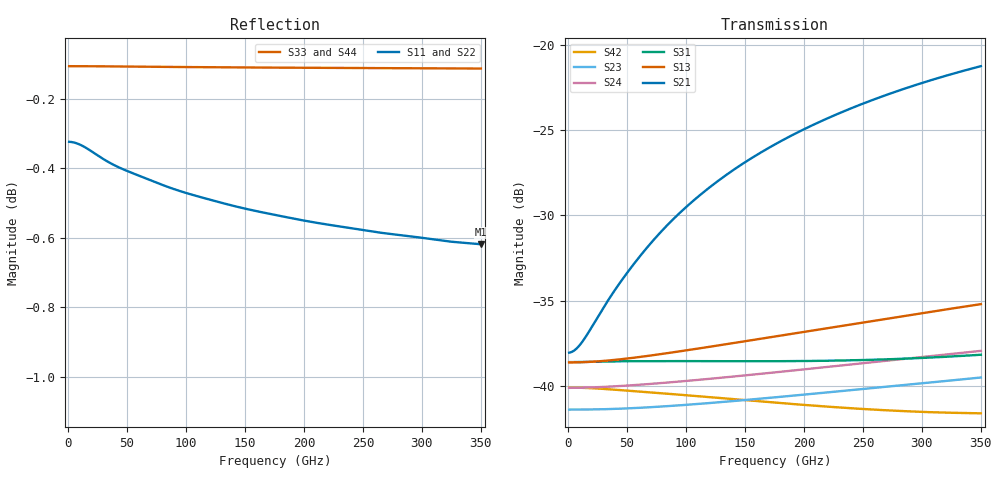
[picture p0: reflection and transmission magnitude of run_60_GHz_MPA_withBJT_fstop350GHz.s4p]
#  Hz  S  RI  R  50
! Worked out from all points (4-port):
!   400 points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, 875 MHz to 350 GHz, reference 50 ohm
!   strongest paths, dB at 875 MHz, 88.38 GHz, 175.9 GHz, 263.4 GHz, 350 GHz:
!     S21: -38.0, -30.3, -25.8, -23.1, -21.3
!     S13: -38.6, -38.0, -37.1, -36.1, -35.2
!     S31: -38.6, -38.5, -38.5, -38.4, -38.2
!     S24: -40.1, -39.8, -39.2, -38.6, -37.9
!     S23: -41.4, -41.2, -40.7, -40.1, -39.5
!     S42: -40.1, -40.5, -41.0, -41.4, -41.6
!   lowest |S11| = -0.6 dB at 350 GHz (marker M1), VSWR 28.07, Z = 2.77 + j37.2 ohm
!   |S11| at or under -10 dB: nowhere
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8.75e8  -0.9634 0.00355  0.0125 0.000274  0.0117 1.48e-05  0.0084 -6.84e-06
        0.0125 0.000274  -0.9675 0.00357  0.00853 -2.88e-06  0.00988 3e-06
        0.0118 -2.08e-06  0.00855 -1.37e-05  -0.9879 2.64e-05  0.00852 2.08e-06
        0.0084 -2.06e-05  0.0099 -1.82e-05  0.00851 6.29e-07  -0.9899 8.71e-06
1.1375e10  -0.9612 0.0457  0.0129 0.00348  0.0117 0.000191  0.0084 -8.92e-05
           0.0129 0.00348  -0.9652 0.046  0.00854 -3.73e-05  0.00989 3.81e-05
           0.0118 -3.08e-05  0.00856 -0.000183  -0.9879 0.000342  0.00852 2.62e-05
           0.0084 -0.000269  0.00988 -0.000234  0.00851 8.19e-06  -0.9899 0.000114
4.375e10  -0.9406 0.166  0.0165 0.0114  0.012 0.000686  0.00842 -0.00035
          0.0165 0.0114  -0.9447 0.167  0.00858 -0.000142  0.01 0.000112
          0.0118 -0.000204  0.00855 -0.00081  -0.9878 0.00126  0.00853 8.13e-05
          0.00826 -0.00103  0.0097 -0.000812  0.0085 3.25e-05  -0.9899 0.000456
7.4375e10  -0.9106 0.2725  0.0211 0.0172  0.0123 0.00104  0.00846 -0.000609
           0.0211 0.0172  -0.9146 0.2745  0.00869 -0.000265  0.0102 0.00012
           0.0118 -0.000381  0.00839 -0.00139  -0.9877 0.00207  0.00853 0.00013
           0.00801 -0.00166  0.00948 -0.00123  0.00849 5.93e-05  -0.9899 0.000776
1.37375e11  -0.8165 0.4727  0.0343 0.0247  0.0132 0.00141  0.00859 -0.00121
            0.0343 0.0247  -0.8195 0.4764  0.009 -0.000649  0.0106 -3.81e-05
            0.0118 -0.000712  0.00792 -0.00236  -0.9875 0.00362  0.00849 0.000244
            0.00734 -0.00268  0.00898 -0.00186  0.00843 0.000135  -0.9899 0.0014
2.45875e11  -0.5694 0.7427  0.0623 0.0225  0.0152 0.00126  0.00878 -0.0025
            0.0623 0.0225  -0.5696 0.7482  0.00962 -0.00172  0.0116 -0.00079
            0.0119 -0.00106  0.00699 -0.00353  -0.9873 0.00619  0.00843 0.000485
            0.0061 -0.00375  0.00824 -0.00243  0.00832 0.000335  -0.9899 0.0025
3.5e11  -0.2668 0.8922  0.0864 0.00267  0.0174 0.000274  0.00879 -0.00396
        0.0864 0.00267  -0.264 0.8976  0.0101 -0.00315  0.0125 -0.00202
        0.0123 -0.00129  0.00621 -0.00425  -0.9871 0.00864  0.00839 0.00075
        0.00513 -0.00427  0.00789 -0.00264  0.00824 0.000577  -0.9898 0.00359
